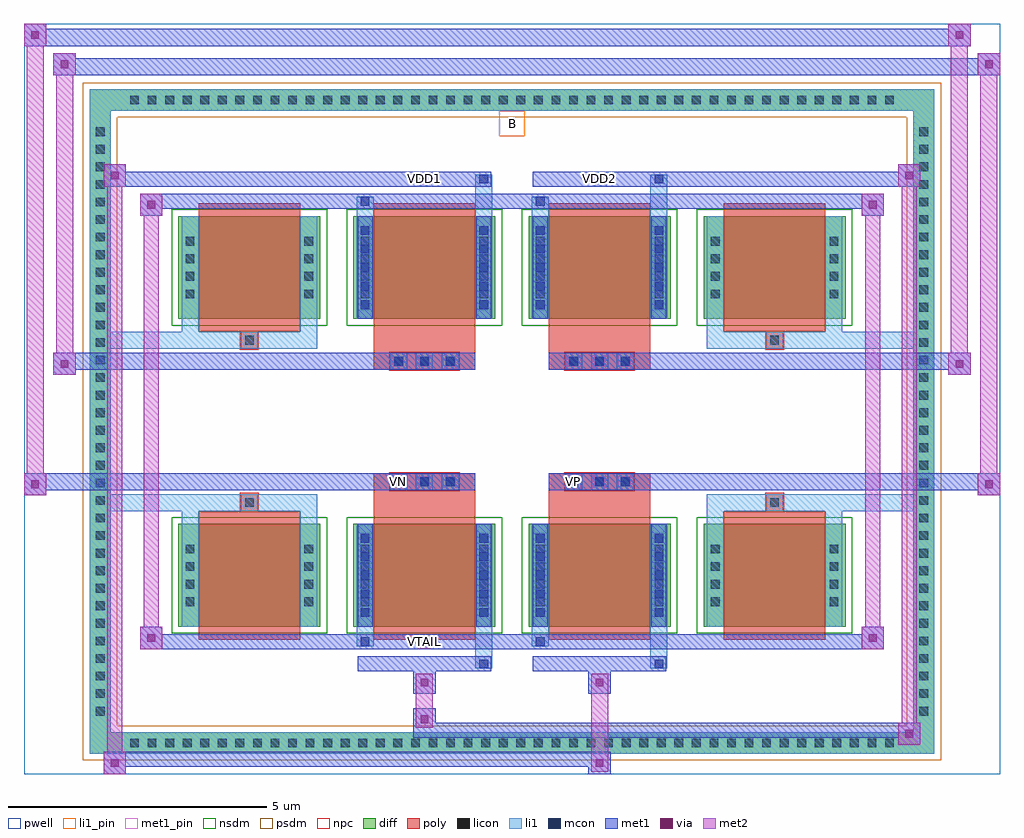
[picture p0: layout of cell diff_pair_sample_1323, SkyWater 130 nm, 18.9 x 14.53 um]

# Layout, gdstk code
import gdstk
lib = gdstk.Library(unit=1e-6, precision=5e-09)
def R(c, l, rs):  # rectangles x0, y0, x1, y1
    for r in rs: c.add(gdstk.rectangle(r[:2], r[2:], *l))
def A(c, l, x, y, w, h, nx, ny, dx, dy):  # array of equal rectangles
    R(c, l, [(x+i*dx, y+j*dy, x+i*dx+w, y+j*dy+h) for i in range(nx) for j in range(ny)])
def P(c, l, *ps):  # polygons
    for p in ps: c.add(gdstk.Polygon(p, *l))
pwell = (64, 44)
diff = (65, 20)
poly = (66, 20)
licon = (66, 44)
li1_pin = (67, 16)
li1 = (67, 20)
mcon = (67, 44)
met1_pin = (68, 16)
met1 = (68, 20)
via = (68, 44)
met2 = (69, 20)
nsdm = (93, 44)
psdm = (94, 20)
npc = (95, 20)

diff_pair_sample_1323 = lib.new_cell('diff_pair_sample_1323')
R(diff_pair_sample_1323, pwell, [(-9.45,-6.83,9.45,7.7), (-6.77,-5.02,-0.01,-0.8), (0.01,-5.02,6.77,-0.8), (-6.77,0.8,-0.01,5.02), (0.01,0.8,6.77,5.02)])
A(diff_pair_sample_1323, diff, -7.515, -6.43, 0.41, 0.41, 44, 2, 0.34, 12.45)
A(diff_pair_sample_1323, diff, -8.18, -5.815, 0.41, 0.41, 1, 34, 0, 0.34)
A(diff_pair_sample_1323, diff, 7.77, -5.815, 0.41, 0.41, 1, 34, 0, 0.34)
A(diff_pair_sample_1323, diff, -6.46, -3.975, 2.75, 1.99, 4, 2, 3.39, 5.96)
R(diff_pair_sample_1323, diff, [(-7.515,-6.43,7.515,-6.02), (-8.18,-5.815,-7.77,5.815), (7.77,-5.815,8.18,5.815), (-7.515,6.02,7.515,6.43)])
P(diff_pair_sample_1323, diff, [(8.18,6.43),(-8.18,6.43),(-8.18,-6.02),(-7.77,-6.02),(-7.77,6.02),(7.77,6.02),(7.77,-6.02),(-7.77,-6.02),(-8.18,-6.02),(-8.18,-6.43),(8.18,-6.43)])
A(diff_pair_sample_1323, poly, -6.07, -4.225, 1.97, 2.49, 4, 2, 3.39, 5.96)
A(diff_pair_sample_1323, poly, -2.36, -1.33, 0.33, 0.33, 3, 2, 0.5, 2.33)
A(diff_pair_sample_1323, poly, 1.03, -1.33, 0.33, 0.33, 3, 2, 0.5, 2.33)
R(diff_pair_sample_1323, poly, [(-5.25,-1.735,-4.92,-1.405), (-5.25,-1.735,-4.92,-1.405), (-2.68,-1.735,-0.71,-1.33), (0.71,-1.735,2.68,-1.33), (4.92,-1.735,5.25,-1.405), (4.92,-1.735,5.25,-1.405), (-2.68,-1.33,-0.71,-1), (0.71,-1.33,2.68,-1), (-2.68,1,-0.71,1.33), (0.71,1,2.68,1.33), (-2.68,1.33,-0.71,1.735), (0.71,1.33,2.68,1.735), (-5.25,1.405,-4.92,1.735), (-5.25,1.405,-4.92,1.735), (4.92,1.405,5.25,1.735), (4.92,1.405,5.25,1.735)])
A(diff_pair_sample_1323, licon, -7.395, -6.31, 0.17, 0.17, 44, 2, 0.34, 12.45)
A(diff_pair_sample_1323, licon, -8.06, -5.695, 0.17, 0.17, 1, 34, 0, 0.34)
A(diff_pair_sample_1323, licon, 7.89, -5.695, 0.17, 0.17, 1, 34, 0, 0.34)
A(diff_pair_sample_1323, licon, -6.32, -3.575, 0.17, 0.17, 1, 4, 0, 0.34)
A(diff_pair_sample_1323, licon, -4.02, -3.575, 0.17, 0.17, 1, 4, 0, 0.34)
A(diff_pair_sample_1323, licon, -2.93, -3.575, 0.17, 0.17, 1, 4, 0, 0.34)
A(diff_pair_sample_1323, licon, -0.63, -3.575, 0.17, 0.17, 1, 4, 0, 0.34)
A(diff_pair_sample_1323, licon, 0.46, -3.575, 0.17, 0.17, 1, 4, 0, 0.34)
A(diff_pair_sample_1323, licon, 2.76, -3.575, 0.17, 0.17, 1, 4, 0, 0.34)
A(diff_pair_sample_1323, licon, 3.85, -3.575, 0.17, 0.17, 1, 4, 0, 0.34)
A(diff_pair_sample_1323, licon, 6.15, -3.575, 0.17, 0.17, 1, 4, 0, 0.34)
A(diff_pair_sample_1323, licon, -2.28, -1.25, 0.17, 0.17, 3, 2, 0.5, 2.33)
A(diff_pair_sample_1323, licon, 1.11, -1.25, 0.17, 0.17, 3, 2, 0.5, 2.33)
A(diff_pair_sample_1323, licon, -6.32, 2.385, 0.17, 0.17, 1, 4, 0, 0.34)
A(diff_pair_sample_1323, licon, -4.02, 2.385, 0.17, 0.17, 1, 4, 0, 0.34)
A(diff_pair_sample_1323, licon, -2.93, 2.385, 0.17, 0.17, 1, 4, 0, 0.34)
A(diff_pair_sample_1323, licon, -0.63, 2.385, 0.17, 0.17, 1, 4, 0, 0.34)
A(diff_pair_sample_1323, licon, 0.46, 2.385, 0.17, 0.17, 1, 4, 0, 0.34)
A(diff_pair_sample_1323, licon, 2.76, 2.385, 0.17, 0.17, 1, 4, 0, 0.34)
A(diff_pair_sample_1323, licon, 3.85, 2.385, 0.17, 0.17, 1, 4, 0, 0.34)
A(diff_pair_sample_1323, licon, 6.15, 2.385, 0.17, 0.17, 1, 4, 0, 0.34)
R(diff_pair_sample_1323, licon, [(-5.17,-1.655,-5,-1.485), (5,-1.655,5.17,-1.485), (-5.17,1.485,-5,1.655), (5,1.485,5.17,1.655)])
R(diff_pair_sample_1323, li1_pin, [(-0.25,5.52,0.25,6.02)])
A(diff_pair_sample_1323, li1, -7.475, -6.39, 0.33, 0.33, 44, 2, 0.34, 12.45)
A(diff_pair_sample_1323, li1, -8.14, -5.775, 0.33, 0.33, 1, 34, 0, 0.34)
A(diff_pair_sample_1323, li1, 7.81, -5.775, 0.33, 0.33, 1, 34, 0, 0.34)
A(diff_pair_sample_1323, li1, -2.93, -3.785, 0.17, 0.17, 1, 5, 0, 0.36)
A(diff_pair_sample_1323, li1, -0.63, -3.785, 0.17, 0.17, 1, 5, 0, 0.36)
A(diff_pair_sample_1323, li1, 0.46, -3.785, 0.17, 0.17, 1, 5, 0, 0.36)
A(diff_pair_sample_1323, li1, 2.76, -3.785, 0.17, 0.17, 1, 5, 0, 0.36)
A(diff_pair_sample_1323, li1, -6.4, -3.655, 0.33, 0.33, 1, 4, 0, 0.34)
A(diff_pair_sample_1323, li1, -4.1, -3.655, 0.33, 0.33, 1, 4, 0, 0.34)
A(diff_pair_sample_1323, li1, -3.01, -3.655, 0.33, 0.33, 1, 4, 0, 0.34)
A(diff_pair_sample_1323, li1, -0.71, -3.655, 0.33, 0.33, 1, 4, 0, 0.34)
A(diff_pair_sample_1323, li1, 0.38, -3.655, 0.33, 0.33, 1, 4, 0, 0.34)
A(diff_pair_sample_1323, li1, 2.68, -3.655, 0.33, 0.33, 1, 4, 0, 0.34)
A(diff_pair_sample_1323, li1, 3.77, -3.655, 0.33, 0.33, 1, 4, 0, 0.34)
A(diff_pair_sample_1323, li1, 6.07, -3.655, 0.33, 0.33, 1, 4, 0, 0.34)
A(diff_pair_sample_1323, li1, -2.36, -1.33, 0.33, 0.33, 3, 2, 0.5, 2.33)
A(diff_pair_sample_1323, li1, 1.03, -1.33, 0.33, 0.33, 3, 2, 0.5, 2.33)
A(diff_pair_sample_1323, li1, -2.93, 2.175, 0.17, 0.17, 1, 5, 0, 0.36)
A(diff_pair_sample_1323, li1, -0.63, 2.175, 0.17, 0.17, 1, 5, 0, 0.36)
A(diff_pair_sample_1323, li1, 0.46, 2.175, 0.17, 0.17, 1, 5, 0, 0.36)
A(diff_pair_sample_1323, li1, 2.76, 2.175, 0.17, 0.17, 1, 5, 0, 0.36)
A(diff_pair_sample_1323, li1, -6.4, 2.305, 0.33, 0.33, 1, 4, 0, 0.34)
A(diff_pair_sample_1323, li1, -4.1, 2.305, 0.33, 0.33, 1, 4, 0, 0.34)
A(diff_pair_sample_1323, li1, -3.01, 2.305, 0.33, 0.33, 1, 4, 0, 0.34)
A(diff_pair_sample_1323, li1, -0.71, 2.305, 0.33, 0.33, 1, 4, 0, 0.34)
A(diff_pair_sample_1323, li1, 0.38, 2.305, 0.33, 0.33, 1, 4, 0, 0.34)
A(diff_pair_sample_1323, li1, 2.68, 2.305, 0.33, 0.33, 1, 4, 0, 0.34)
A(diff_pair_sample_1323, li1, 3.77, 2.305, 0.33, 0.33, 1, 4, 0, 0.34)
A(diff_pair_sample_1323, li1, 6.07, 2.305, 0.33, 0.33, 1, 4, 0, 0.34)
R(diff_pair_sample_1323, li1, [(-8.18,-6.43,-7.77,-6.02), (-8.18,-6.43,-7.77,-6.02), (-7.77,-6.43,7.77,-6.02), (7.77,-6.43,8.18,-6.02), (7.77,-6.43,8.18,-6.02), (-8.18,-6.02,-7.77,6.02), (7.77,-6.02,8.18,6.02), (-0.71,-4.78,-0.38,-3.975), (-0.63,-4.78,-0.46,-4.61), (2.68,-4.78,3.01,-3.975), (2.76,-4.78,2.93,-4.61), (-3.01,-4.35,-2.68,-3.975), (-2.93,-4.35,-2.76,-4.18), (0.38,-4.35,0.71,-3.975), (0.46,-4.35,0.63,-4.18), (-6.4,-3.975,-6.07,-1.985), (-4.1,-3.975,-3.77,-1.985), (-3.01,-3.975,-2.68,-1.985), (-0.71,-3.975,-0.38,-1.985), (0.38,-3.975,0.71,-1.985), (2.68,-3.975,3.01,-1.985), (3.77,-3.975,4.1,-1.985), (6.07,-3.975,6.4,-1.985), (-2.93,-3.785,-2.76,-2.175), (-0.63,-3.785,-0.46,-2.175), (0.46,-3.785,0.63,-2.175), (2.76,-3.785,2.93,-2.175), (-6.4,-1.985,-6.07,-1.405), (-4.1,-1.985,-3.77,-1.405), (3.77,-1.985,4.1,-1.405), (6.07,-1.985,6.4,-1.405), (-8.18,-1.735,-5.25,-1.405), (-6.4,-1.735,-5.25,-1.405), (-5.25,-1.735,-4.92,-1.405), (-4.92,-1.735,-3.77,-1.405), (3.77,-1.735,4.92,-1.405), (4.92,-1.735,5.25,-1.405), (4.92,-1.735,8.18,-1.405), (5.25,-1.735,6.4,-1.405), (-8.18,1.405,-5.25,1.735), (-6.4,1.405,-5.25,1.735), (-6.4,1.405,-6.07,1.985), (-5.25,1.405,-4.92,1.735), (-4.92,1.405,-3.77,1.735), (-4.1,1.405,-3.77,1.985), (3.77,1.405,4.92,1.735), (3.77,1.405,4.1,1.985), (4.92,1.405,5.25,1.735), (4.92,1.405,8.18,1.735), (5.25,1.405,6.4,1.735), (6.07,1.405,6.4,1.985), (-6.4,1.985,-6.07,3.975), (-4.1,1.985,-3.77,3.975), (-3.01,1.985,-2.68,3.975), (-0.71,1.985,-0.38,3.975), (0.38,1.985,0.71,3.975), (2.68,1.985,3.01,3.975), (3.77,1.985,4.1,3.975), (6.07,1.985,6.4,3.975), (-2.93,2.175,-2.76,3.785), (-0.63,2.175,-0.46,3.785), (0.46,2.175,0.63,3.785), (2.76,2.175,2.93,3.785), (-3.01,3.975,-2.68,4.35), (-0.71,3.975,-0.38,4.78), (0.38,3.975,0.71,4.35), (2.68,3.975,3.01,4.78), (-2.93,4.18,-2.76,4.35), (0.46,4.18,0.63,4.35), (-0.63,4.61,-0.46,4.78), (2.76,4.61,2.93,4.78), (-8.18,6.02,-7.77,6.43), (-8.18,6.02,-7.77,6.43), (-7.77,6.02,7.77,6.43), (7.77,6.02,8.18,6.43), (7.77,6.02,8.18,6.43)])
A(diff_pair_sample_1323, mcon, -2.93, -3.785, 0.17, 0.17, 1, 5, 0, 0.36)
A(diff_pair_sample_1323, mcon, -0.63, -3.785, 0.17, 0.17, 1, 5, 0, 0.36)
A(diff_pair_sample_1323, mcon, 0.46, -3.785, 0.17, 0.17, 1, 5, 0, 0.36)
A(diff_pair_sample_1323, mcon, 2.76, -3.785, 0.17, 0.17, 1, 5, 0, 0.36)
A(diff_pair_sample_1323, mcon, -2.28, -1.25, 0.17, 0.17, 3, 2, 0.5, 2.33)
A(diff_pair_sample_1323, mcon, 1.11, -1.25, 0.17, 0.17, 3, 2, 0.5, 2.33)
A(diff_pair_sample_1323, mcon, -2.93, 2.175, 0.17, 0.17, 1, 5, 0, 0.36)
A(diff_pair_sample_1323, mcon, -0.63, 2.175, 0.17, 0.17, 1, 5, 0, 0.36)
A(diff_pair_sample_1323, mcon, 0.46, 2.175, 0.17, 0.17, 1, 5, 0, 0.36)
A(diff_pair_sample_1323, mcon, 2.76, 2.175, 0.17, 0.17, 1, 5, 0, 0.36)
R(diff_pair_sample_1323, mcon, [(-0.63,-4.78,-0.46,-4.61), (2.76,-4.78,2.93,-4.61), (-2.93,-4.35,-2.76,-4.18), (0.46,-4.35,0.63,-4.18), (-2.93,4.18,-2.76,4.35), (0.46,4.18,0.63,4.35), (-0.63,4.61,-0.46,4.78), (2.76,4.61,2.93,4.78)])
R(diff_pair_sample_1323, met1_pin, [(-1.83,-4.39,-1.56,-4.12), (-2.33,-1.29,-2.06,-1.02), (1.06,-1.29,1.33,-1.02), (-1.83,4.57,-1.56,4.84), (1.56,4.57,1.83,4.84)])
A(diff_pair_sample_1323, met1, -2.99, -3.845, 0.29, 0.29, 1, 5, 0, 0.36)
A(diff_pair_sample_1323, met1, -0.69, -3.845, 0.29, 0.29, 1, 5, 0, 0.36)
A(diff_pair_sample_1323, met1, 0.4, -3.845, 0.29, 0.29, 1, 5, 0, 0.36)
A(diff_pair_sample_1323, met1, 2.7, -3.845, 0.29, 0.29, 1, 5, 0, 0.36)
A(diff_pair_sample_1323, met1, -2.34, -1.31, 0.29, 0.29, 3, 2, 0.5, 2.33)
A(diff_pair_sample_1323, met1, 1.05, -1.31, 0.29, 0.29, 3, 2, 0.5, 2.33)
A(diff_pair_sample_1323, met1, -2.99, 2.115, 0.29, 0.29, 1, 5, 0, 0.36)
A(diff_pair_sample_1323, met1, -0.69, 2.115, 0.29, 0.29, 1, 5, 0, 0.36)
A(diff_pair_sample_1323, met1, 0.4, 2.115, 0.29, 0.29, 1, 5, 0, 0.36)
A(diff_pair_sample_1323, met1, 2.7, 2.115, 0.29, 0.29, 1, 5, 0, 0.36)
R(diff_pair_sample_1323, met1, [(-7.91,-6.83,-7.48,-6.4), (1.48,-6.83,1.91,-6.4), (-7.91,-6.69,1.91,-6.4), (7.48,-6.26,7.91,-5.83), (-1.91,-6.12,7.91,-5.83), (-1.91,-5.98,-1.48,-5.55), (-1.91,-5.27,-1.48,-4.84), (1.48,-5.27,1.91,-4.84), (-2.99,-4.84,-0.4,-4.55), (-0.69,-4.84,-0.4,-4.55), (0.4,-4.84,2.99,-4.55), (2.7,-4.84,2.99,-4.55), (-7.2,-4.41,-6.77,-3.98), (-7.2,-4.41,-2.99,-4.12), (-2.99,-4.41,-2.7,-4.12), (-2.99,-4.41,-0.4,-4.12), (-0.4,-4.41,0.4,-4.12), (0.4,-4.41,0.69,-4.12), (0.4,-4.41,2.99,-4.12), (2.99,-4.41,7.2,-4.12), (6.77,-4.41,7.2,-3.98), (-2.99,-3.975,-2.7,-1.985), (-0.69,-3.975,-0.4,-1.985), (0.4,-3.975,0.69,-1.985), (2.7,-3.975,2.99,-1.985), (-9.45,-1.43,-9.02,-1), (9.02,-1.43,9.45,-1), (-9.45,-1.33,-0.71,-1), (-2.68,-1.33,-0.71,-1), (0.71,-1.33,2.68,-1), (0.71,-1.33,9.45,-1), (-8.88,0.9,-8.45,1.33), (8.45,0.9,8.88,1.33), (-8.88,1,-2.68,1.33), (-2.68,1,-0.71,1.33), (0.71,1,2.68,1.33), (2.68,1,8.88,1.33), (-2.99,1.985,-2.7,3.975), (-0.69,1.985,-0.4,3.975), (0.4,1.985,0.69,3.975), (2.7,1.985,2.99,3.975), (-7.2,3.98,-6.77,4.41), (6.77,3.98,7.2,4.41), (-7.2,4.12,-2.99,4.41), (-2.99,4.12,-2.7,4.41), (-2.99,4.12,-0.4,4.41), (-0.4,4.12,0.4,4.41), (0.4,4.12,0.69,4.41), (0.4,4.12,2.99,4.41), (2.99,4.12,7.2,4.41), (-7.91,4.55,-7.48,4.98), (-7.91,4.55,-2.99,4.84), (-2.99,4.55,-0.4,4.84), (-0.69,4.55,-0.4,4.84), (0.4,4.55,2.99,4.84), (2.7,4.55,2.99,4.84), (2.99,4.55,7.91,4.84), (7.48,4.55,7.91,4.98), (-8.88,6.7,-8.45,7.13), (-8.88,6.7,-6.77,7.03), (-6.77,6.7,6.77,7.03), (6.77,6.7,9.45,7.03), (9.02,6.7,9.45,7.13), (-9.45,7.27,-9.02,7.7), (-9.45,7.27,-6.77,7.6), (-6.77,7.27,6.77,7.6), (6.77,7.27,8.88,7.6), (8.45,7.27,8.88,7.7)])
R(diff_pair_sample_1323, via, [(-7.77,-6.69,-7.62,-6.54), (1.62,-6.69,1.77,-6.54), (7.62,-6.12,7.77,-5.97), (-1.77,-5.84,-1.62,-5.69), (-1.77,-5.13,-1.62,-4.98), (1.62,-5.13,1.77,-4.98), (-7.06,-4.27,-6.91,-4.12), (6.91,-4.27,7.06,-4.12), (-9.31,-1.29,-9.16,-1.14), (9.16,-1.29,9.31,-1.14), (-8.74,1.04,-8.59,1.19), (8.59,1.04,8.74,1.19), (-7.06,4.12,-6.91,4.27), (6.91,4.12,7.06,4.27), (-7.77,4.69,-7.62,4.84), (7.62,4.69,7.77,4.84), (-8.74,6.84,-8.59,6.99), (9.16,6.84,9.31,6.99), (-9.31,7.41,-9.16,7.56), (8.59,7.41,8.74,7.56)])
R(diff_pair_sample_1323, met2, [(-7.91,-6.83,-7.48,-6.4), (-7.84,-6.83,-7.55,4.98), (-7.55,-6.83,-7.48,-6.4), (-7.86,-6.78,-7.53,-6.45), (1.53,-6.78,1.86,-6.45), (1.53,-6.45,1.86,-5.22), (7.48,-6.26,7.91,-5.83), (7.55,-6.26,7.84,4.98), (7.84,-6.26,7.91,-5.83), (7.53,-6.21,7.86,-5.88), (-1.86,-5.93,-1.53,-5.6), (-1.86,-5.6,-1.53,-5.22), (-1.86,-5.22,-1.53,-4.89), (1.53,-5.22,1.86,-4.89), (-7.2,-4.41,-6.77,-3.98), (-7.13,-4.41,-6.84,4.41), (-6.84,-4.41,-6.77,-3.98), (6.77,-4.41,7.2,-3.98), (6.84,-4.41,7.13,4.41), (7.13,-4.41,7.2,-3.98), (-7.15,-4.36,-6.82,-4.03), (6.82,-4.36,7.15,-4.03), (-9.45,-1.43,-9.02,-1), (-9.4,-1.43,-9.07,7.7), (-9.07,-1.43,-9.02,-1), (9.02,-1.43,9.45,-1), (9.07,-1.43,9.4,7.13), (9.4,-1.43,9.45,-1), (-9.4,-1.38,-9.07,-1.05), (9.07,-1.38,9.4,-1.05), (-8.88,0.9,-8.45,1.33), (-8.83,0.9,-8.5,7.13), (-8.5,0.9,-8.45,1.33), (8.45,0.9,8.88,1.33), (8.5,0.9,8.83,7.7), (8.83,0.9,8.88,1.33), (-8.83,0.95,-8.5,1.28), (8.5,0.95,8.83,1.28), (-7.2,3.98,-6.77,4.41), (-6.84,3.98,-6.77,4.41), (6.77,3.98,7.2,4.41), (7.13,3.98,7.2,4.41), (-7.15,4.03,-6.82,4.36), (6.82,4.03,7.15,4.36), (-7.91,4.55,-7.48,4.98), (-7.55,4.55,-7.48,4.98), (7.48,4.55,7.91,4.98), (7.84,4.55,7.91,4.98), (-7.86,4.6,-7.53,4.93), (7.53,4.6,7.86,4.93), (-8.88,6.7,-8.45,7.13), (-8.5,6.7,-8.45,7.13), (9.02,6.7,9.45,7.13), (9.4,6.7,9.45,7.13), (-8.83,6.75,-8.5,7.08), (9.07,6.75,9.4,7.08), (-9.45,7.27,-9.02,7.7), (-9.07,7.27,-9.02,7.7), (8.45,7.27,8.88,7.7), (8.83,7.27,8.88,7.7), (-9.4,7.32,-9.07,7.65), (8.5,7.32,8.83,7.65)])
A(diff_pair_sample_1323, nsdm, -6.59, -4.105, 3.01, 2.25, 4, 2, 3.39, 5.96)
P(diff_pair_sample_1323, psdm, [(8.31,6.56),(-8.31,6.56),(-8.31,-5.89),(-7.64,-5.89),(-7.64,5.89),(7.64,5.89),(7.64,-5.89),(-7.64,-5.89),(-8.31,-5.89),(-8.31,-6.56),(8.31,-6.56)])
A(diff_pair_sample_1323, npc, -2.38, -1.35, 0.37, 0.37, 3, 2, 0.5, 2.33)
A(diff_pair_sample_1323, npc, 1.01, -1.35, 0.37, 0.37, 3, 2, 0.5, 2.33)
R(diff_pair_sample_1323, npc, [(-5.27,-1.755,-4.9,-1.385), (4.9,-1.755,5.27,-1.385), (-2.38,-1.35,-1.51,-0.98), (-2.38,-1.35,-1.51,-0.98), (-1.88,-1.35,-1.01,-0.98), (-1.88,-1.35,-1.01,-0.98), (1.01,-1.35,1.88,-0.98), (1.01,-1.35,1.88,-0.98), (1.51,-1.35,2.38,-0.98), (1.51,-1.35,2.38,-0.98), (-2.38,0.98,-1.51,1.35), (-2.38,0.98,-1.51,1.35), (-1.88,0.98,-1.01,1.35), (-1.88,0.98,-1.01,1.35), (1.01,0.98,1.88,1.35), (1.01,0.98,1.88,1.35), (1.51,0.98,2.38,1.35), (1.51,0.98,2.38,1.35), (-5.27,1.385,-4.9,1.755), (4.9,1.385,5.27,1.755)])
diff_pair_sample_1323.add(gdstk.Label('VTAIL', (-1.695,-4.255), layer=68, texttype=5))
diff_pair_sample_1323.add(gdstk.Label('VN', (-2.195,-1.155), layer=68, texttype=5))
diff_pair_sample_1323.add(gdstk.Label('VP', (1.195,-1.155), layer=68, texttype=5))
diff_pair_sample_1323.add(gdstk.Label('B', (0,5.77), layer=67, texttype=5))
diff_pair_sample_1323.add(gdstk.Label('VDD2', (1.695,4.705), layer=68, texttype=5))
diff_pair_sample_1323.add(gdstk.Label('VDD1', (-1.695,4.705), layer=68, texttype=5))

lib.write_gds('diff_pair_sample_1323.gds')
